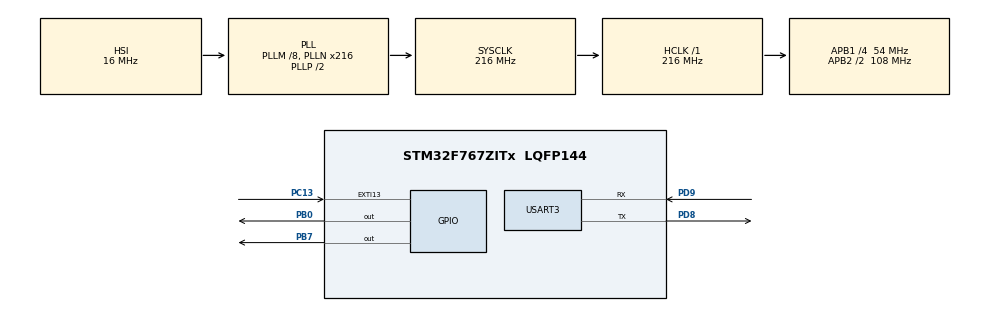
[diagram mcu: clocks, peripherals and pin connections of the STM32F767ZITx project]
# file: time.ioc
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CORTEX_M7.default_mode_Activation=1
Mcu.Family=STM32F7
Mcu.Name=STM32F767ZITx
Mcu.Package=LQFP144
NVIC.EXTI15_10_IRQn=true\:3\:0\:true\:false\:true\:true\:true\:true
NVIC.PriorityGroup=NVIC_PRIORITYGROUP_2
NVIC.TIM1_UP_TIM10_IRQn=true\:1\:0\:true\:false\:true\:true\:true\:true
NVIC.TIM2_IRQn=true\:2\:0\:true\:false\:true\:true\:true\:true
PB0.Signal=GPIO_Output
PB7.Signal=GPIO_Output
PC13.Signal=GPXTI13
PD8.Mode=Asynchronous
PD8.Signal=USART3_TX
PD9.Mode=Asynchronous
PD9.Signal=USART3_RX
ProjectManager.HeapSize=0x200
ProjectManager.StackSize=0x400
ProjectManager.TargetToolchain=STM32CubeIDE
RCC.AHBFreq_Value=216000000
RCC.APB1CLKDivider=RCC_HCLK_DIV4
RCC.APB1Freq_Value=54000000
RCC.APB1TimFreq_Value=108000000
RCC.APB2CLKDivider=RCC_HCLK_DIV2
RCC.APB2Freq_Value=108000000
RCC.APB2TimFreq_Value=216000000
RCC.CortexFreq_Value=216000000
RCC.HCLKFreq_Value=216000000
RCC.HSE_VALUE=25000000
RCC.HSI_VALUE=16000000
RCC.LSE_VALUE=32768
RCC.PLLM=8
RCC.PLLN=216
RCC.SYSCLKFreq_VALUE=216000000
RCC.SYSCLKSource=RCC_SYSCLKSOURCE_PLLCLK
RCC.USBFreq_Value=216000000
RCC.VCOOutputFreq_Value=432000000
TIM1.Period=10000-1
TIM1.Prescaler=21600-1
TIM2.Period=100000-1
TIM2.Prescaler=1080-1
USART3.VirtualMode-Asynchronous=VM_ASYNC
VP_TIM1_VS_ClockSourceINT.Mode=Internal
VP_TIM2_VS_ClockSourceINT.Mode=Internal
board=custom

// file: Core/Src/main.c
/* USER CODE BEGIN Header */
/**
  ******************************************************************************
  * @file           : main.c
  * @brief          : Main program body
  ******************************************************************************
  * @attention
  *
  * Copyright (c) 2025 STMicroelectronics.
  * All rights reserved.
  *
  * This software is licensed under terms that can be found in the LICENSE file
  * in the root directory of this software component.
  * If no LICENSE file comes with this software, it is provided AS-IS.
  *
  ******************************************************************************
  */
/* USER CODE END Header */
#include "main.h"

/* USER CODE BEGIN Includes */
#include "stdbool.h"
#include "stdio.h"
#include "string.h"
/* USER CODE END Includes */

/* USER CODE BEGIN PD */
int count=0;
int d_count =0;
int num = 3001;
bool flag = false;
int btn_bool = 0;
char buffer[20];
int n = 0;
/* USER CODE END PD */

TIM_HandleTypeDef htim1;
TIM_HandleTypeDef htim2;

UART_HandleTypeDef huart3;

void SystemClock_Config(void);
static void MPU_Config(void);
static void MX_GPIO_Init(void);
static void MX_TIM2_Init(void);
static void MX_TIM1_Init(void);
static void MX_USART3_UART_Init(void);

int main(void)
{

  /* MPU Configuration--------------------------------------------------------*/
  MPU_Config();

  /* MCU Configuration--------------------------------------------------------*/

  /* Reset of all peripherals, Initializes the Flash interface and the Systick. */
  HAL_Init();

  /* Configure the system clock */
  SystemClock_Config();

  /* Initialize all configured peripherals */
  MX_GPIO_Init();
  MX_TIM2_Init();
  MX_TIM1_Init();
  MX_USART3_UART_Init();
  /* USER CODE BEGIN 2 */

  HAL_TIM_Base_Start_IT(&htim2);
  HAL_TIM_Base_Start_IT(&htim1);
//  HAL_TIM_PeriodElapsedCallback(&htim2);

  /* USER CODE END 2 */

  /* Infinite loop */
  while (1)
  {

    /* USER CODE BEGIN 3 */
	  if (HAL_GPIO_ReadPin(GPIOC, GPIO_PIN_13) == true){
	  		  btn_bool = true;
	  		  n = 1;

	  }

	  if (flag){
		  if (btn_bool == 0) {
			  if (num == 3031){
				  if (n == 1) {
					  HAL_UART_Transmit(&huart3, (uint8_t *)"STOP\r\n", 6, 100);
					  break;
				  } else {
					  num == 3001;
				  }
			  }
			  sprintf(buffer, "%d\r\n", num);
			  HAL_UART_Transmit(&huart3, (uint8_t *)buffer, sizeof(buffer), 100);
			  num += 2;
			  flag = false;
		  } else if (btn_bool == 1){

			  	  HAL_Delay(1000);
				  HAL_GPIO_WritePin(GPIOB, GPIO_PIN_0, GPIO_PIN_SET);
				  HAL_Delay(1000);
				  HAL_GPIO_WritePin(GPIOB, GPIO_PIN_7, GPIO_PIN_SET);
				  HAL_Delay(1000);
				  HAL_GPIO_WritePin(GPIOB, GPIO_PIN_0, GPIO_PIN_RESET);
				  HAL_GPIO_WritePin(GPIOB, GPIO_PIN_7, GPIO_PIN_RESET);
				  btn_bool = 0;

				  flag = false;

		  }
	  }

  }
  /* USER CODE END 3 */
}

void SystemClock_Config(void)
{
  RCC_OscInitTypeDef RCC_OscInitStruct = {0};
  RCC_ClkInitTypeDef RCC_ClkInitStruct = {0};

  /** Configure the main internal regulator output voltage
  */
  __HAL_RCC_PWR_CLK_ENABLE();
  __HAL_PWR_VOLTAGESCALING_CONFIG(PWR_REGULATOR_VOLTAGE_SCALE1);

  /** Initializes the RCC Oscillators according to the specified parameters
  * in the RCC_OscInitTypeDef structure.
  */
  RCC_OscInitStruct.OscillatorType = RCC_OSCILLATORTYPE_HSI;
  RCC_OscInitStruct.HSIState = RCC_HSI_ON;
  RCC_OscInitStruct.HSICalibrationValue = RCC_HSICALIBRATION_DEFAULT;
  RCC_OscInitStruct.PLL.PLLState = RCC_PLL_ON;
  RCC_OscInitStruct.PLL.PLLSource = RCC_PLLSOURCE_HSI;
  RCC_OscInitStruct.PLL.PLLM = 8;
  RCC_OscInitStruct.PLL.PLLN = 216;
  RCC_OscInitStruct.PLL.PLLP = RCC_PLLP_DIV2;
  RCC_OscInitStruct.PLL.PLLQ = 2;
  RCC_OscInitStruct.PLL.PLLR = 2;
  if (HAL_RCC_OscConfig(&RCC_OscInitStruct) != HAL_OK)
  {
    Error_Handler();
  }

  /** Activate the Over-Drive mode
  */
  if (HAL_PWREx_EnableOverDrive() != HAL_OK)
  {
    Error_Handler();
  }

  /** Initializes the CPU, AHB and APB buses clocks
  */
  RCC_ClkInitStruct.ClockType = RCC_CLOCKTYPE_HCLK|RCC_CLOCKTYPE_SYSCLK
                              |RCC_CLOCKTYPE_PCLK1|RCC_CLOCKTYPE_PCLK2;
  RCC_ClkInitStruct.SYSCLKSource = RCC_SYSCLKSOURCE_PLLCLK;
  RCC_ClkInitStruct.AHBCLKDivider = RCC_SYSCLK_DIV1;
  RCC_ClkInitStruct.APB1CLKDivider = RCC_HCLK_DIV4;
  RCC_ClkInitStruct.APB2CLKDivider = RCC_HCLK_DIV2;

  if (HAL_RCC_ClockConfig(&RCC_ClkInitStruct, FLASH_LATENCY_7) != HAL_OK)
  {
    Error_Handler();
  }
}

static void MX_TIM1_Init(void)
{

  TIM_ClockConfigTypeDef sClockSourceConfig = {0};
  TIM_MasterConfigTypeDef sMasterConfig = {0};

  htim1.Instance = TIM1;
  htim1.Init.Prescaler = 21600-1;
  htim1.Init.CounterMode = TIM_COUNTERMODE_UP;
  htim1.Init.Period = 10000-1;
  htim1.Init.ClockDivision = TIM_CLOCKDIVISION_DIV1;
  htim1.Init.RepetitionCounter = 0;
  htim1.Init.AutoReloadPreload = TIM_AUTORELOAD_PRELOAD_DISABLE;
  if (HAL_TIM_Base_Init(&htim1) != HAL_OK)
  {
    Error_Handler();
  }
  sClockSourceConfig.ClockSource = TIM_CLOCKSOURCE_INTERNAL;
  if (HAL_TIM_ConfigClockSource(&htim1, &sClockSourceConfig) != HAL_OK)
  {
    Error_Handler();
  }
  sMasterConfig.MasterOutputTrigger = TIM_TRGO_RESET;
  sMasterConfig.MasterOutputTrigger2 = TIM_TRGO2_RESET;
  sMasterConfig.MasterSlaveMode = TIM_MASTERSLAVEMODE_DISABLE;
  if (HAL_TIMEx_MasterConfigSynchronization(&htim1, &sMasterConfig) != HAL_OK)
  {
    Error_Handler();
  }

}

static void MX_TIM2_Init(void)
{

  TIM_ClockConfigTypeDef sClockSourceConfig = {0};
  TIM_MasterConfigTypeDef sMasterConfig = {0};

  htim2.Instance = TIM2;
  htim2.Init.Prescaler = 1080-1;
  htim2.Init.CounterMode = TIM_COUNTERMODE_UP;
  htim2.Init.Period = 100000-1;
  htim2.Init.ClockDivision = TIM_CLOCKDIVISION_DIV1;
  htim2.Init.AutoReloadPreload = TIM_AUTORELOAD_PRELOAD_DISABLE;
  if (HAL_TIM_Base_Init(&htim2) != HAL_OK)
  {
    Error_Handler();
  }
  sClockSourceConfig.ClockSource = TIM_CLOCKSOURCE_INTERNAL;
  if (HAL_TIM_ConfigClockSource(&htim2, &sClockSourceConfig) != HAL_OK)
  {
    Error_Handler();
  }
  sMasterConfig.MasterOutputTrigger = TIM_TRGO_RESET;
  sMasterConfig.MasterSlaveMode = TIM_MASTERSLAVEMODE_DISABLE;
  if (HAL_TIMEx_MasterConfigSynchronization(&htim2, &sMasterConfig) != HAL_OK)
  {
    Error_Handler();
  }

}

static void MX_USART3_UART_Init(void)
{

  huart3.Instance = USART3;
  huart3.Init.BaudRate = 115200;
  huart3.Init.WordLength = UART_WORDLENGTH_8B;
  huart3.Init.StopBits = UART_STOPBITS_1;
  huart3.Init.Parity = UART_PARITY_NONE;
  huart3.Init.Mode = UART_MODE_TX_RX;
  huart3.Init.HwFlowCtl = UART_HWCONTROL_NONE;
  huart3.Init.OverSampling = UART_OVERSAMPLING_16;
  huart3.Init.OneBitSampling = UART_ONE_BIT_SAMPLE_DISABLE;
  huart3.AdvancedInit.AdvFeatureInit = UART_ADVFEATURE_NO_INIT;
  if (HAL_UART_Init(&huart3) != HAL_OK)
  {
    Error_Handler();
  }

}

static void MX_GPIO_Init(void)
{
  GPIO_InitTypeDef GPIO_InitStruct = {0};

  /* GPIO Ports Clock Enable */
  __HAL_RCC_GPIOC_CLK_ENABLE();
  __HAL_RCC_GPIOB_CLK_ENABLE();
  __HAL_RCC_GPIOD_CLK_ENABLE();

  /*Configure GPIO pin Output Level */
  HAL_GPIO_WritePin(GPIOB, GPIO_PIN_0|GPIO_PIN_7, GPIO_PIN_RESET);

  /*Configure GPIO pin : PC13 */
  GPIO_InitStruct.Pin = GPIO_PIN_13;
  GPIO_InitStruct.Mode = GPIO_MODE_IT_RISING;
  GPIO_InitStruct.Pull = GPIO_NOPULL;
  HAL_GPIO_Init(GPIOC, &GPIO_InitStruct);

  /*Configure GPIO pins : PB0 PB7 */
  GPIO_InitStruct.Pin = GPIO_PIN_0|GPIO_PIN_7;
  GPIO_InitStruct.Mode = GPIO_MODE_OUTPUT_PP;
  GPIO_InitStruct.Pull = GPIO_NOPULL;
  GPIO_InitStruct.Speed = GPIO_SPEED_FREQ_LOW;
  HAL_GPIO_Init(GPIOB, &GPIO_InitStruct);

  /* EXTI interrupt init*/
  HAL_NVIC_SetPriority(EXTI15_10_IRQn, 3, 0);
  HAL_NVIC_EnableIRQ(EXTI15_10_IRQn);

}

/* USER CODE BEGIN 4 */
void HAL_TIM_PeriodElapsedCallback(TIM_HandleTypeDef *htim) {
    if (htim->Instance == TIM1) {
//        HAL_GPIO_TogglePin(GPIOB, GPIO_PIN_0);
        flag = true;
    }
}

/* USER CODE END 4 */

 /* MPU Configuration */

void MPU_Config(void)
{
  MPU_Region_InitTypeDef MPU_InitStruct = {0};

  /* Disables the MPU */
  HAL_MPU_Disable();

  /** Initializes and configures the Region and the memory to be protected
  */
  MPU_InitStruct.Enable = MPU_REGION_ENABLE;
  MPU_InitStruct.Number = MPU_REGION_NUMBER0;
  MPU_InitStruct.BaseAddress = 0x0;
  MPU_InitStruct.Size = MPU_REGION_SIZE_4GB;
  MPU_InitStruct.SubRegionDisable = 0x87;
  MPU_InitStruct.TypeExtField = MPU_TEX_LEVEL0;
  MPU_InitStruct.AccessPermission = MPU_REGION_NO_ACCESS;
  MPU_InitStruct.DisableExec = MPU_INSTRUCTION_ACCESS_DISABLE;
  MPU_InitStruct.IsShareable = MPU_ACCESS_SHAREABLE;
  MPU_InitStruct.IsCacheable = MPU_ACCESS_NOT_CACHEABLE;
  MPU_InitStruct.IsBufferable = MPU_ACCESS_NOT_BUFFERABLE;

  HAL_MPU_ConfigRegion(&MPU_InitStruct);
  /* Enables the MPU */
  HAL_MPU_Enable(MPU_PRIVILEGED_DEFAULT);

}

void Error_Handler(void)
{
  __disable_irq();
  while (1)
  {
  }
}
